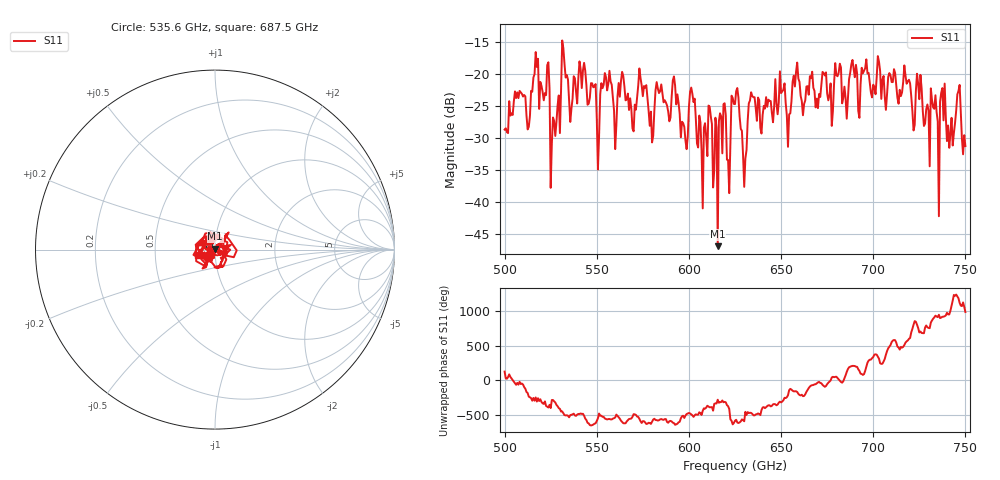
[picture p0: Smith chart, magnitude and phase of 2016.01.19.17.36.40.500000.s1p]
!Created with skrf (http://scikit-rf.org).
# GHz S RI R 50.0
!freq ReS11 ImS11
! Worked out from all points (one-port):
!   401 points, 500 GHz to 750 GHz, reference 50 ohm
!   lowest |S11| = -46.8 dB at 615.6 GHz (marker M1), VSWR 1.01, Z = 50.1 + j0.452 ohm
!   |S11| at or under -10 dB: start of sweep to end of sweep
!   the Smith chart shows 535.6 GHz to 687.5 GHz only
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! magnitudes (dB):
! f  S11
! 500 GHz  -28.6
! 513.1 GHz  -28.2
! 516.9 GHz  -16.5
! 523.1 GHz  -18.5
! 526.2 GHz  -26.7
! 531.2 GHz  -14.7
! 548.1 GHz  -22.0
! 550.6 GHz  -34.8
! 553.8 GHz  -21.6
! 560 GHz  -31.7
! 562.5 GHz  -23.5
! 570 GHz  -28.9
! 574.4 GHz  -21.7
! 579.4 GHz  -25.8
! 583.8 GHz  -22.9
! 593.8 GHz  -23.1
! 615.6 GHz  -46.8
! 618.8 GHz  -24.7
! 621.2 GHz  -33.4
! 625 GHz  -24.6
! 630 GHz  -37.6
! 633.8 GHz  -22.8
! 656.2 GHz  -21.2
! 687.5 GHz  -19.8
! 718.8 GHz  -21.1
! 734.4 GHz  -25.9
! 746.2 GHz  -22.6
! 750 GHz  -31.2
